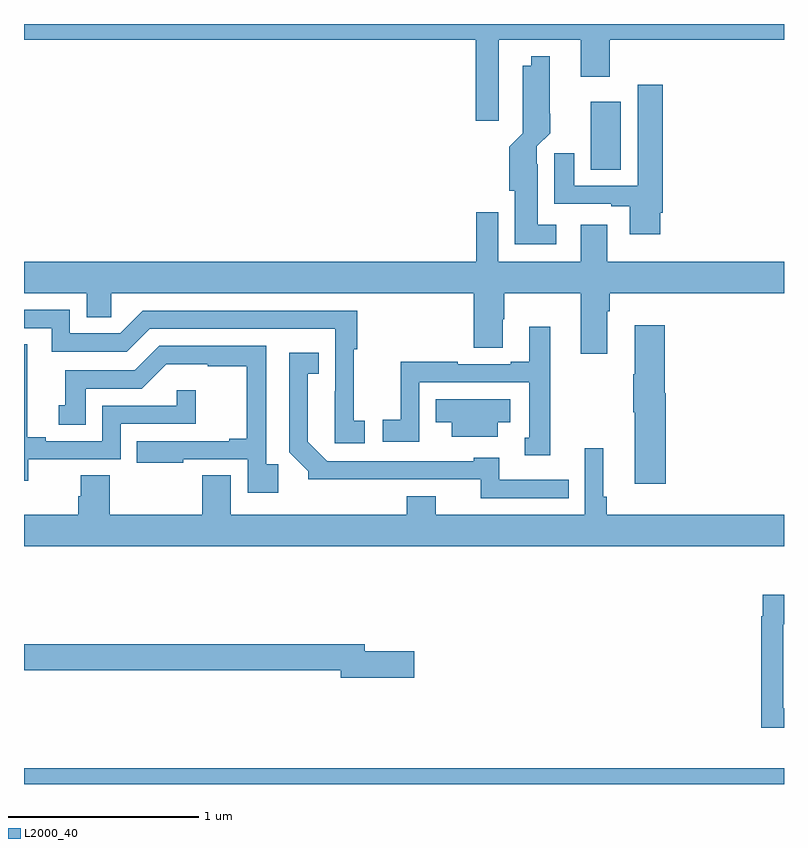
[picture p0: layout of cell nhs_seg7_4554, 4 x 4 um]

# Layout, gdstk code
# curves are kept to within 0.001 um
import gdstk
lib = gdstk.Library(unit=1e-6, precision=1e-09)
def R(c, l, rs):  # rectangles x0, y0, x1, y1
    for r in rs: c.add(gdstk.rectangle(r[:2], r[2:], *l))
def P(c, l, *ps):  # polygons
    for p in ps: c.add(gdstk.Polygon(p, *l))
L2000_40 = (2000, 40)

nhs_seg7_4554 = lib.new_cell('nhs_seg7_4554')
R(nhs_seg7_4554, L2000_40, [(397,1030,401,1030.084), (399.983,1033.234,400.141,1033.591)])
P(nhs_seg7_4554, L2000_40, [(399.499,1033.916),(399.929,1033.916),(399.929,1033.722),(400.082,1033.722),(400.082,1033.916),(401,1033.916),(401,1034),(397,1034),(397,1033.916),(399.377,1033.916),(399.377,1033.491),(399.499,1033.491)],
  [(399.802,1032.943),(399.703,1032.943),(399.703,1033.262),(399.699,1033.262),(399.699,1033.356),(399.769,1033.426),(399.768,1033.831),(399.671,1033.831),(399.671,1033.78),(399.626,1033.78),(399.626,1033.426),(399.554,1033.354),(399.554,1033.122),(399.584,1033.122),(399.584,1032.842),(399.802,1032.842)],
  [(400.348,1033.006),(400.361,1033.006),(400.361,1033.68),(400.229,1033.68),(400.229,1033.149),(399.895,1033.149),(399.895,1033.321),(399.791,1033.321),(399.791,1033.053),(400.091,1033.053),(400.091,1033.041),(400.187,1033.041),(400.187,1032.894),(400.348,1032.894)],
  [(397,1032.584),(397.331,1032.584),(397.331,1032.457),(397.458,1032.457),(397.458,1032.584),(399.368,1032.584),(399.368,1032.295),(399.52,1032.295),(399.52,1032.446),(399.528,1032.446),(399.528,1032.584),(399.929,1032.584),(399.929,1032.264),(400.069,1032.264),(400.069,1032.488),(400.082,1032.488),(400.082,1032.584),(401,1032.584),(401,1032.748),(400.069,1032.748),(400.069,1032.943),(399.929,1032.943),(399.929,1032.748),(399.495,1032.748),(399.495,1033.009),(399.379,1033.009),(399.379,1032.748),(397,1032.748)],
  [(398.794,1031.913),(398.736,1031.913),(398.736,1032.289),(398.753,1032.289),(398.753,1032.492),(397.626,1032.492),(397.506,1032.372),(397.242,1032.372),(397.242,1032.495),(397,1032.495),(397,1032.399),(397.146,1032.399),(397.146,1032.276),(397.542,1032.276),(397.662,1032.396),(398.637,1032.396),(398.636,1031.793),(398.794,1031.793)],
  [(400.378,1032.057),(400.373,1032.057),(400.373,1032.415),(400.214,1032.415),(400.214,1032.157),(400.207,1032.157),(400.207,1031.957),(400.214,1031.957),(400.214,1031.58),(400.378,1031.58)],
  [(399.769,1032.406),(399.659,1032.406),(399.659,1032.223),(399.563,1032.223),(399.563,1032.21),(399.284,1032.21),(399.284,1032.223),(398.983,1032.223),(398.983,1031.918),(398.889,1031.918),(398.889,1031.802),(399.081,1031.802),(399.081,1032.114),(399.66,1032.114),(399.66,1031.823),(399.635,1031.823),(399.635,1031.729),(399.769,1031.729)],
  [(397.022,1031.709),(397.509,1031.709),(397.509,1031.895),(397.904,1031.895),(397.904,1032.073),(397.803,1032.073),(397.803,1031.991),(397.413,1031.991),(397.413,1031.805),(397.114,1031.805),(397.114,1031.825),(397.018,1031.825),(397.018,1032.203),(397.016,1032.203),(397.016,1032.314),(397,1032.314),(397,1031.595),(397.022,1031.595)],
  [(398.339,1031.683),(398.274,1031.683),(398.274,1032.306),(397.713,1032.306),(397.584,1032.177),(397.217,1032.177),(397.217,1031.994),(397.184,1031.994),(397.184,1031.89),(397.324,1031.89),(397.324,1032.081),(397.62,1032.081),(397.748,1032.209),(397.967,1032.209),(397.967,1032.198),(398.173,1032.198),(398.173,1031.818),(398.081,1031.818),(398.081,1031.805),(397.594,1031.805),(397.594,1031.69),(397.837,1031.69),(397.837,1031.709),(398.178,1031.709),(398.178,1031.532),(398.339,1031.532)],
  [(399.866,1031.601),(399.502,1031.601),(399.502,1031.716),(399.366,1031.716),(399.366,1031.7),(398.595,1031.7),(398.494,1031.801),(398.494,1032.158),(398.552,1032.158),(398.552,1032.271),(398.397,1032.271),(398.397,1031.746),(398.496,1031.647),(398.496,1031.603),(399.403,1031.604),(399.403,1031.505),(399.866,1031.505)],
  [(399.493,1031.903),(399.559,1031.903),(399.559,1032.025),(399.166,1032.025),(399.166,1031.903),(399.251,1031.903),(399.251,1031.828),(399.493,1031.828)],
  [(401,1031.416),(400.067,1031.416),(400.067,1031.512),(400.048,1031.512),(400.048,1031.767),(399.951,1031.767),(399.951,1031.416),(399.166,1031.416),(399.166,1031.515),(399.014,1031.515),(399.014,1031.416),(398.089,1031.416),(398.089,1031.624),(397.937,1031.624),(397.937,1031.416),(397.451,1031.416),(397.451,1031.624),(397.298,1031.624),(397.298,1031.514),(397.286,1031.514),(397.286,1031.416),(397,1031.416),(397,1031.252),(401,1031.252)],
  [(401,1030.398),(400.995,1030.398),(400.995,1030.84),(401,1030.84),(401,1030.996),(400.887,1030.996),(400.887,1030.883),(400.879,1030.883),(400.879,1030.295),(401,1030.295)],
  [(399.055,1030.7),(398.794,1030.7),(398.794,1030.736),(397,1030.736),(397,1030.6),(398.666,1030.6),(398.666,1030.558),(399.055,1030.558)])

lib.write_gds('nhs_seg7_4554.gds')
